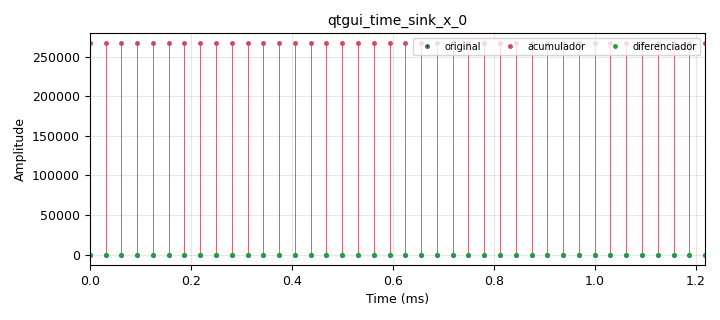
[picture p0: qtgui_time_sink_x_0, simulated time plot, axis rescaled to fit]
options:
  parameters:
    author: ramon
    generate_options: qt_gui
    id: acumulador
    output_language: python
    title: suma prueba
  states: {}

blocks:
- name: samp_rate
  id: variable
  parameters:
    value: '32000'
  states: {}
- name: blocks_vector_source_x_0
  id: blocks_vector_source_x
  parameters:
    repeat: 'True'
    type: float
    vector: (1,2,1)
  states: {}
- name: epy_block_0
  id: epy_block
  parameters:
    _source_code: |
      """
      Embedded Python Blocks:

      Each time this file is saved, GRC will instantiate the first class it finds
      to get ports and parameters of your block. The arguments to __init__  will
      be the parameters. All of them are required to have default values!
      """

      import numpy as np
      from gnuradio import gr

      class blk (gr.sync_block):
      	def __init__ ( self ) : # only default arguments here
      		gr.sync_block.__init__ (
      			self,
      			name ='e_Acum', # will show up in GRC
      			in_sig =[np.float32],
      			out_sig =[np.float32]
      		)
      		self.acum_anterior = 0
      	def work (self ,input_items , output_items):
      		x = input_items[0] # Senial de entrada .
      		y0 = output_items[0] # Senial acumulada
      		
      		y0[:] = np.cumsum(x) + self.acum_anterior
      		self.acum_anterior = y0[-1]
      		return  len(y0)
  states: {}
- name: epy_block_1
  id: epy_block
  parameters:
    _source_code: |
      """
      Embedded Python Blocks:

      Each time this file is saved, GRC will instantiate the first class it finds
      to get ports and parameters of your block. The arguments to __init__  will
      be the parameters. All of them are required to have default values!
      """

      import numpy as np
      from gnuradio import gr

      class blk (gr.sync_block):
      	def __init__ (self): # only default arguments here
      		gr.sync_block.__init__ (
      			self,
      			name ='e_Diff', # will show up in GRC
      			in_sig =[np.float32],
      			out_sig =[np.float32]			
      			
      		)
      		self.acum_anterior = 0
      	def work (self , input_items , output_items ):
      		x = input_items[0] # Senial de entrada .
      		y0 = output_items[0] # Senial acumulada diferencial
      		
      		# Perform differentiation logic
      		y0[0] = x[0]
      		for i in range(1,len(x)):
              		y0[i] = x[i] - y0[i - 1]
      		return len(y0)
      		
      		#y0[:] = self.acum_anterior - np.cumsum(x)
      		#self.acum_anterior = y0[-1]
      		#y0[:] = diff
      		#return len(y0)
  states: {}
- name: qtgui_time_sink_x_0
  id: qtgui_time_sink_x
  parameters:
    label1: original
    label2: acumulador
    label3: diferenciador
    marker1: '0'
    marker2: '0'
    marker3: '0'
    nconnections: '3'
    size: '40'
    srate: samp_rate
    stemplot: 'True'
    style1: '2'
    tr_mode: qtgui.TRIG_MODE_AUTO
    type: float
    update_time: '0.1'
    ymax: '6'
    ymin: '-6'
  states: {}

connections:
- [blocks_vector_source_x_0, '0', epy_block_0, '0']
- [blocks_vector_source_x_0, '0', epy_block_1, '0']
- [blocks_vector_source_x_0, '0', qtgui_time_sink_x_0, '0']
- [epy_block_0, '0', qtgui_time_sink_x_0, '1']
- [epy_block_1, '0', qtgui_time_sink_x_0, '2']

metadata:
  file_format: 1
